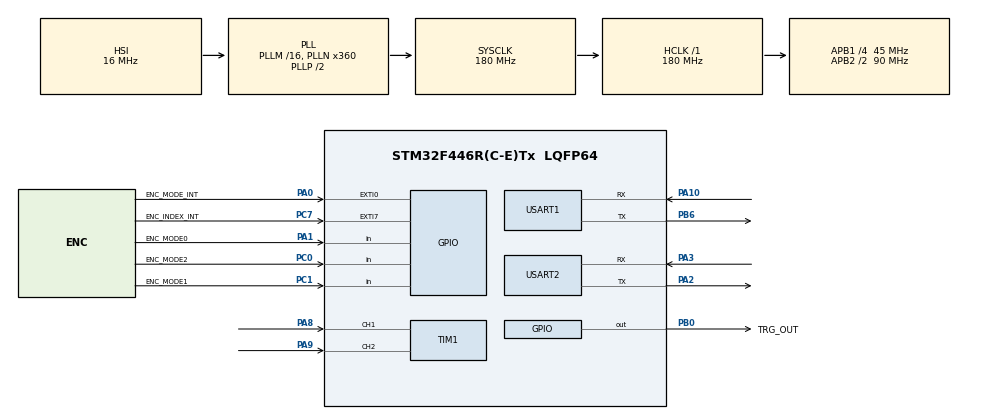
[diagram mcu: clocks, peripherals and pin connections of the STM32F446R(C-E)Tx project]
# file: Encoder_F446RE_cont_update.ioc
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Mcu.Family=STM32F4
Mcu.Name=STM32F446R(C-E)Tx
Mcu.Package=LQFP64
NVIC.EXTI0_IRQn=true\:0\:0\:false\:false\:true\:true\:true\:true
NVIC.EXTI9_5_IRQn=true\:0\:0\:false\:false\:true\:true\:true\:true
NVIC.PriorityGroup=NVIC_PRIORITYGROUP_4
NVIC.TIM1_UP_TIM10_IRQn=true\:0\:0\:false\:false\:true\:true\:true\:true
PA0-WKUP.GPIO_Label=ENC_MODE_INT
PA0-WKUP.GPIO_ModeDefaultEXTI=GPIO_MODE_IT_FALLING
PA0-WKUP.Signal=GPXTI0
PA1.GPIO_Label=ENC_MODE0
PA1.Signal=GPIO_Input
PA10.Mode=Asynchronous
PA10.Signal=USART1_RX
PA2.Mode=Asynchronous
PA2.Signal=USART2_TX
PA3.Mode=Asynchronous
PA3.Signal=USART2_RX
PA8.Signal=S_TIM1_CH1
PA9.Signal=S_TIM1_CH2
PB0.GPIO_Label=TRG_OUT
PB0.GPIO_PuPd=GPIO_PULLDOWN
PB0.Signal=GPIO_Output
PB6.Mode=Asynchronous
PB6.Signal=USART1_TX
PC0.GPIO_Label=ENC_MODE2
PC0.Signal=GPIO_Input
PC1.GPIO_Label=ENC_MODE1
PC1.Signal=GPIO_Input
PC7.GPIO_Label=ENC_INDEX_INT
PC7.Signal=GPXTI7
ProjectManager.HeapSize=0x200
ProjectManager.StackSize=0x400
ProjectManager.TargetToolchain=STM32CubeIDE
RCC.AHBFreq_Value=180000000
RCC.APB1CLKDivider=RCC_HCLK_DIV4
RCC.APB1Freq_Value=45000000
RCC.APB1TimFreq_Value=90000000
RCC.APB2CLKDivider=RCC_HCLK_DIV2
RCC.APB2Freq_Value=90000000
RCC.APB2TimFreq_Value=180000000
RCC.CortexFreq_Value=180000000
RCC.HCLKFreq_Value=180000000
RCC.PLLN=360
RCC.SYSCLKFreq_VALUE=180000000
RCC.SYSCLKSource=RCC_SYSCLKSOURCE_PLLCLK
RCC.USBFreq_Value=180000000
RCC.VCOOutputFreq_Value=360000000
SH.S_TIM1_CH1.0=TIM1_CH1,Encoder_Interface
SH.S_TIM1_CH2.0=TIM1_CH2,Encoder_Interface
TIM1.EncoderMode=TIM_ENCODERMODE_TI12
USART1.VirtualMode=VM_ASYNC
USART2.VirtualMode=VM_ASYNC
board=custom

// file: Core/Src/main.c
/* USER CODE BEGIN Header */
/**
  ******************************************************************************
  * @file           : main.c
  * @brief          : Main program body
  ******************************************************************************
  * @attention
  *
  * Copyright (c) 2024 STMicroelectronics.
  * All rights reserved.
  *
  * This software is licensed under terms that can be found in the LICENSE file
  * in the root directory of this software component.
  * If no LICENSE file comes with this software, it is provided AS-IS.
  *
  ******************************************************************************
  */
/* USER CODE END Header */
#include "main.h"

/* USER CODE BEGIN Includes */
#include <stdio.h>
#include "eeprom.h"
/* USER CODE END Includes */

/* USER CODE BEGIN PD */
#define debug 0
/* USER CODE END PD */

/* USER CODE BEGIN PM */
#define PUTCHAR_PROTOTYPE int __io_putchar(int ch)
/* USER CODE END PM */

TIM_HandleTypeDef htim1;

UART_HandleTypeDef huart1;
UART_HandleTypeDef huart2;

/* USER CODE BEGIN PV */
volatile int32_t currentCount=0, prevCount=0, tempCount=0, count_diff=0;
volatile uint32_t encoder_cnt_total=0, encoder_cnt_section=0;
uint16_t encoder_cnt_unit_100mm=0;
uint8_t mode=0;

uint8_t aTxBuffer[2] ={0x0,};

uint16_t VirtAddVarTab[3] = {0x5555, 0x6666, 0x7777};
uint16_t VarDataTab[3] = {0, 0, 0};
//uint16_t VarValue,VarDataTmp = 0;
/* USER CODE END PV */

void SystemClock_Config(void);
static void MX_GPIO_Init(void);
static void MX_TIM1_Init(void);
static void MX_USART1_UART_Init(void);
static void MX_USART2_UART_Init(void);
/* USER CODE BEGIN PFP */
static void count_encoder_value(void);
static void count_encoder_value_diff(void);
static void clear_encoder_counter(void);
static uint8_t save_100mm_encoder_counter(uint16_t value);
static uint16_t read_100mm_encoder_counter(void);
static void sent_data_to_dmi(uint16_t data);
/* USER CODE END PFP */

int main(void)
{

  /* MCU Configuration--------------------------------------------------------*/

  /* Reset of all peripherals, Initializes the Flash interface and the Systick. */
  HAL_Init();

  /* Configure the system clock */
  SystemClock_Config();

  /* Initialize all configured peripherals */
  MX_GPIO_Init();
  MX_TIM1_Init();
  MX_USART1_UART_Init();
  MX_USART2_UART_Init();
  /* USER CODE BEGIN 2 */
  printf("Encoder Started!!\r\n");

//save_100mm_encoder_counter(34567);
//read_100mm_encoder_counter();
/*printf("EEPROM Emulation W/R Test : %d\r\n",read_100mm_encoder_counter());*/

  HAL_TIM_Encoder_Start(&htim1, TIM_CHANNEL_ALL);
//  HAL_TIM_Base_Start_IT(&htim1);

  /* USER CODE END 2 */

  /* Infinite loop */
  while (1)
  {

  }
}

void SystemClock_Config(void)
{
  RCC_OscInitTypeDef RCC_OscInitStruct = {0};
  RCC_ClkInitTypeDef RCC_ClkInitStruct = {0};

  /** Configure the main internal regulator output voltage
  */
  __HAL_RCC_PWR_CLK_ENABLE();
  __HAL_PWR_VOLTAGESCALING_CONFIG(PWR_REGULATOR_VOLTAGE_SCALE1);

  /** Initializes the RCC Oscillators according to the specified parameters
  * in the RCC_OscInitTypeDef structure.
  */
  RCC_OscInitStruct.OscillatorType = RCC_OSCILLATORTYPE_HSI;
  RCC_OscInitStruct.HSIState = RCC_HSI_ON;
  RCC_OscInitStruct.HSICalibrationValue = RCC_HSICALIBRATION_DEFAULT;
  RCC_OscInitStruct.PLL.PLLState = RCC_PLL_ON;
  RCC_OscInitStruct.PLL.PLLSource = RCC_PLLSOURCE_HSI;
  RCC_OscInitStruct.PLL.PLLM = 16;
  RCC_OscInitStruct.PLL.PLLN = 360;
  RCC_OscInitStruct.PLL.PLLP = RCC_PLLP_DIV2;
  RCC_OscInitStruct.PLL.PLLQ = 2;
  RCC_OscInitStruct.PLL.PLLR = 2;
  if (HAL_RCC_OscConfig(&RCC_OscInitStruct) != HAL_OK)
  {
    Error_Handler();
  }

  /** Activate the Over-Drive mode
  */
  if (HAL_PWREx_EnableOverDrive() != HAL_OK)
  {
    Error_Handler();
  }

  /** Initializes the CPU, AHB and APB buses clocks
  */
  RCC_ClkInitStruct.ClockType = RCC_CLOCKTYPE_HCLK|RCC_CLOCKTYPE_SYSCLK
                              |RCC_CLOCKTYPE_PCLK1|RCC_CLOCKTYPE_PCLK2;
  RCC_ClkInitStruct.SYSCLKSource = RCC_SYSCLKSOURCE_PLLCLK;
  RCC_ClkInitStruct.AHBCLKDivider = RCC_SYSCLK_DIV1;
  RCC_ClkInitStruct.APB1CLKDivider = RCC_HCLK_DIV4;
  RCC_ClkInitStruct.APB2CLKDivider = RCC_HCLK_DIV2;

  if (HAL_RCC_ClockConfig(&RCC_ClkInitStruct, FLASH_LATENCY_5) != HAL_OK)
  {
    Error_Handler();
  }
}

static void MX_TIM1_Init(void)
{

  TIM_Encoder_InitTypeDef sConfig = {0};
  TIM_MasterConfigTypeDef sMasterConfig = {0};

  htim1.Instance = TIM1;
  htim1.Init.Prescaler = 0;
  htim1.Init.CounterMode = TIM_COUNTERMODE_UP;
  htim1.Init.Period = 65535;
  htim1.Init.ClockDivision = TIM_CLOCKDIVISION_DIV1;
  htim1.Init.RepetitionCounter = 0;
  htim1.Init.AutoReloadPreload = TIM_AUTORELOAD_PRELOAD_DISABLE;
  sConfig.EncoderMode = TIM_ENCODERMODE_TI12;
  sConfig.IC1Polarity = TIM_ICPOLARITY_RISING;
  sConfig.IC1Selection = TIM_ICSELECTION_DIRECTTI;
  sConfig.IC1Prescaler = TIM_ICPSC_DIV1;
  sConfig.IC1Filter = 0;
  sConfig.IC2Polarity = TIM_ICPOLARITY_RISING;
  sConfig.IC2Selection = TIM_ICSELECTION_DIRECTTI;
  sConfig.IC2Prescaler = TIM_ICPSC_DIV1;
  sConfig.IC2Filter = 0;
  if (HAL_TIM_Encoder_Init(&htim1, &sConfig) != HAL_OK)
  {
    Error_Handler();
  }
  sMasterConfig.MasterOutputTrigger = TIM_TRGO_RESET;
  sMasterConfig.MasterSlaveMode = TIM_MASTERSLAVEMODE_DISABLE;
  if (HAL_TIMEx_MasterConfigSynchronization(&htim1, &sMasterConfig) != HAL_OK)
  {
    Error_Handler();
  }

}

static void MX_USART1_UART_Init(void)
{

  huart1.Instance = USART1;
  huart1.Init.BaudRate = 115200;
  huart1.Init.WordLength = UART_WORDLENGTH_8B;
  huart1.Init.StopBits = UART_STOPBITS_1;
  huart1.Init.Parity = UART_PARITY_NONE;
  huart1.Init.Mode = UART_MODE_TX_RX;
  huart1.Init.HwFlowCtl = UART_HWCONTROL_NONE;
  huart1.Init.OverSampling = UART_OVERSAMPLING_16;
  if (HAL_UART_Init(&huart1) != HAL_OK)
  {
    Error_Handler();
  }

}

static void MX_USART2_UART_Init(void)
{

  huart2.Instance = USART2;
  huart2.Init.BaudRate = 115200;
  huart2.Init.WordLength = UART_WORDLENGTH_8B;
  huart2.Init.StopBits = UART_STOPBITS_1;
  huart2.Init.Parity = UART_PARITY_NONE;
  huart2.Init.Mode = UART_MODE_TX_RX;
  huart2.Init.HwFlowCtl = UART_HWCONTROL_NONE;
  huart2.Init.OverSampling = UART_OVERSAMPLING_16;
  if (HAL_UART_Init(&huart2) != HAL_OK)
  {
    Error_Handler();
  }

}

static void MX_GPIO_Init(void)
{
  GPIO_InitTypeDef GPIO_InitStruct = {0};

  /* GPIO Ports Clock Enable */
  __HAL_RCC_GPIOC_CLK_ENABLE();
  __HAL_RCC_GPIOA_CLK_ENABLE();
  __HAL_RCC_GPIOB_CLK_ENABLE();

  /*Configure GPIO pin Output Level */
  HAL_GPIO_WritePin(TRG_OUT_GPIO_Port, TRG_OUT_Pin, GPIO_PIN_RESET);

  /*Configure GPIO pins : ENC_MODE2_Pin ENC_MODE1_Pin */
  GPIO_InitStruct.Pin = ENC_MODE2_Pin|ENC_MODE1_Pin;
  GPIO_InitStruct.Mode = GPIO_MODE_INPUT;
  GPIO_InitStruct.Pull = GPIO_NOPULL;
  HAL_GPIO_Init(GPIOC, &GPIO_InitStruct);

  /*Configure GPIO pin : ENC_MODE_INT_Pin */
  GPIO_InitStruct.Pin = ENC_MODE_INT_Pin;
  GPIO_InitStruct.Mode = GPIO_MODE_IT_FALLING;
  GPIO_InitStruct.Pull = GPIO_NOPULL;
  HAL_GPIO_Init(ENC_MODE_INT_GPIO_Port, &GPIO_InitStruct);

  /*Configure GPIO pin : ENC_MODE0_Pin */
  GPIO_InitStruct.Pin = ENC_MODE0_Pin;
  GPIO_InitStruct.Mode = GPIO_MODE_INPUT;
  GPIO_InitStruct.Pull = GPIO_NOPULL;
  HAL_GPIO_Init(ENC_MODE0_GPIO_Port, &GPIO_InitStruct);

  /*Configure GPIO pin : TRG_OUT_Pin */
  GPIO_InitStruct.Pin = TRG_OUT_Pin;
  GPIO_InitStruct.Mode = GPIO_MODE_OUTPUT_PP;
  GPIO_InitStruct.Pull = GPIO_PULLDOWN;
  GPIO_InitStruct.Speed = GPIO_SPEED_FREQ_LOW;
  HAL_GPIO_Init(TRG_OUT_GPIO_Port, &GPIO_InitStruct);

  /*Configure GPIO pin : ENC_INDEX_INT_Pin */
  GPIO_InitStruct.Pin = ENC_INDEX_INT_Pin;
  GPIO_InitStruct.Mode = GPIO_MODE_IT_RISING;
  GPIO_InitStruct.Pull = GPIO_NOPULL;
  HAL_GPIO_Init(ENC_INDEX_INT_GPIO_Port, &GPIO_InitStruct);

  /* EXTI interrupt init*/
  HAL_NVIC_SetPriority(EXTI0_IRQn, 0, 0);
  HAL_NVIC_EnableIRQ(EXTI0_IRQn);

  HAL_NVIC_SetPriority(EXTI9_5_IRQn, 0, 0);
  HAL_NVIC_EnableIRQ(EXTI9_5_IRQn);

}

/* USER CODE BEGIN 4 */
void HAL_GPIO_EXTI_Callback(uint16_t GPIO_Pin)
{
	if(GPIO_Pin == ENC_INDEX_INT_Pin)
	{
		printf("Encoder Z\r\n");
		count_encoder_value_diff();
	}
	else if(GPIO_Pin == ENC_MODE_INT_Pin)
	{

		mode  = HAL_GPIO_ReadPin(GPIOA, GPIO_PIN_1);
		mode |= HAL_GPIO_ReadPin(GPIOC, GPIO_PIN_1)<<1;
		mode |= HAL_GPIO_ReadPin(GPIOC, GPIO_PIN_0)<<2;

		printf("check Encoder working mode: %d\r\n", mode);

		switch(mode)
		{
			case START_ENCODER_MEASURE_DISTANCE:		//0x0

				printf("dmi-mode : START_ENCODER_MEASURE_DISTANCE\r\n");

			break;

			case STOP_ENCODER_MEASURE_DISTANCE:			//0x1

				printf("dmi-mode : STOP_ENCODER_MEASURE_DISTANCE\r\n");

			break;

			case START_ENCODER_CALIBRATION:				//0x2

				printf("dmi-mode : START_ENCODER_CALIBRATION\r\n");

			break;

			case STOP_ENCODER_CALIBRATION:			 	//0x3

				printf("dmi-mode : STOP_ENCODER_CALIBRATION\r\n");

			break;

			case START_DISTANCE_CALIBRATION:			//0x4

				printf("dmi-mode : START_DISTANCE_CALIBRATION\r\n");

				/*Encoder Z index interrupt*/
 				HAL_NVIC_EnableIRQ(EXTI9_5_IRQn);
 				HAL_TIM_Encoder_Start(&htim1, TIM_CHANNEL_ALL);

			break;

			case STOP_DISTANCE_CALIBRATION:			  	//0x5

				printf("dmi-mode : STOP_DISTANCE_CALIBRATION\r\n");

				/*Encoder Z index interrupt*/
				HAL_NVIC_DisableIRQ(EXTI9_5_IRQn);
				HAL_TIM_Encoder_Stop(&htim1, TIM_CHANNEL_ALL);

				count_encoder_value_diff();

			break;

			case SAVE_DISTANCE_CALIBRATION:				//0x6

			break;

			case ENCODER_IDLE:							//0x7

				printf("dmi-mode : ENCODER_IDLE\r\n");

			break;

			default:
				printf("dmi-mode : ENCODER_IDLE\r\n");
			break;
		}

	}

}

void HAL_TIM_PeriodElapsedCallback(TIM_HandleTypeDef *htim)
{
   if(htim == &htim1)
   {
    /*Encoder Overflow Handler here*/
	  printf("TIM1 Counter update\r\n");
   }
}

PUTCHAR_PROTOTYPE
{
  /* Place your implementation of fputc here */
  /* e.g. write a character to the USART1 and Loop until the end of transmission */
  HAL_UART_Transmit(&huart2, (uint8_t *)&ch, 1, 0xFFFF);

  return ch;
}

void count_encoder_value(void)
{
	currentCount =  __HAL_TIM_GET_COUNTER(&htim1);
	printf("currentCount : %ld\r\n", currentCount);
}

void count_encoder_value_diff(void)
{
	currentCount =  __HAL_TIM_GET_COUNTER(&htim1);
	printf("currentCount : %ld\r\n", currentCount);

	if(currentCount - prevCount<0)
	{
		count_diff = currentCount - prevCount + 65536;
	}
	else
	{
		count_diff = currentCount - prevCount;
	}

	encoder_cnt_total+=count_diff;

 	printf("count_diff : %ld\r\n", count_diff);
 	printf("encoder_cnt_total : %ld\r\n", encoder_cnt_total);

	sent_data_to_dmi(count_diff);

	tempCount = currentCount;
	prevCount = tempCount;
	currentCount = 0;
	count_diff = 0;
}

void clear_encoder_counter(void)
{
	currentCount=0, prevCount=0, tempCount=0, count_diff=0;
	encoder_cnt_total=0, encoder_cnt_section=0;
}

uint8_t save_100mm_encoder_counter(uint16_t VarValue)
{
    HAL_FLASH_Unlock();

	if( EE_Init() != EE_OK)
	{
		Error_Handler();
	}

	if((EE_WriteVariable(VirtAddVarTab[0],  VarValue)) != HAL_OK)
	{
		Error_Handler();
	}

	if((EE_ReadVariable(VirtAddVarTab[0],  &VarDataTab[0])) != HAL_OK)
	{
		Error_Handler();
	}

	HAL_FLASH_Lock();

	if (VarValue != VarDataTab[0])
	{
		Error_Handler();
	}

	return 1;
}

uint16_t read_100mm_encoder_counter(void)
{
	if( EE_Init() != EE_OK)
	{
		Error_Handler();
	}

	if((EE_ReadVariable(VirtAddVarTab[0],  &VarDataTab[0])) != HAL_OK)
	{
		Error_Handler();
	}

	return VarDataTab[0];
}

void sent_data_to_dmi(uint16_t data)
{
	if(data>0)
	{
		aTxBuffer[0] = data>>8;
		aTxBuffer[1] = data;

//		if(HAL_UART_Transmit_IT(&huart1, (uint8_t*)aTxBuffer, sizeof(aTxBuffer))!= HAL_OK)
		if(HAL_UART_Transmit(&huart1, (uint8_t*)aTxBuffer, sizeof(aTxBuffer),0xFFFF)!= HAL_OK)
		{
			Error_Handler();
		}

	}
}

#if 0
void HAL_UART_TxCpltCallback(UART_HandleTypeDef *UartHandle)
{

	if(UartHandle == &huart1)
	  {
		printf("uart Tx complete\r\n");
	  }
}
#endif

/* USER CODE END 4 */

void Error_Handler(void)
{
  __disable_irq();
  while (1)
  {
  }
}
